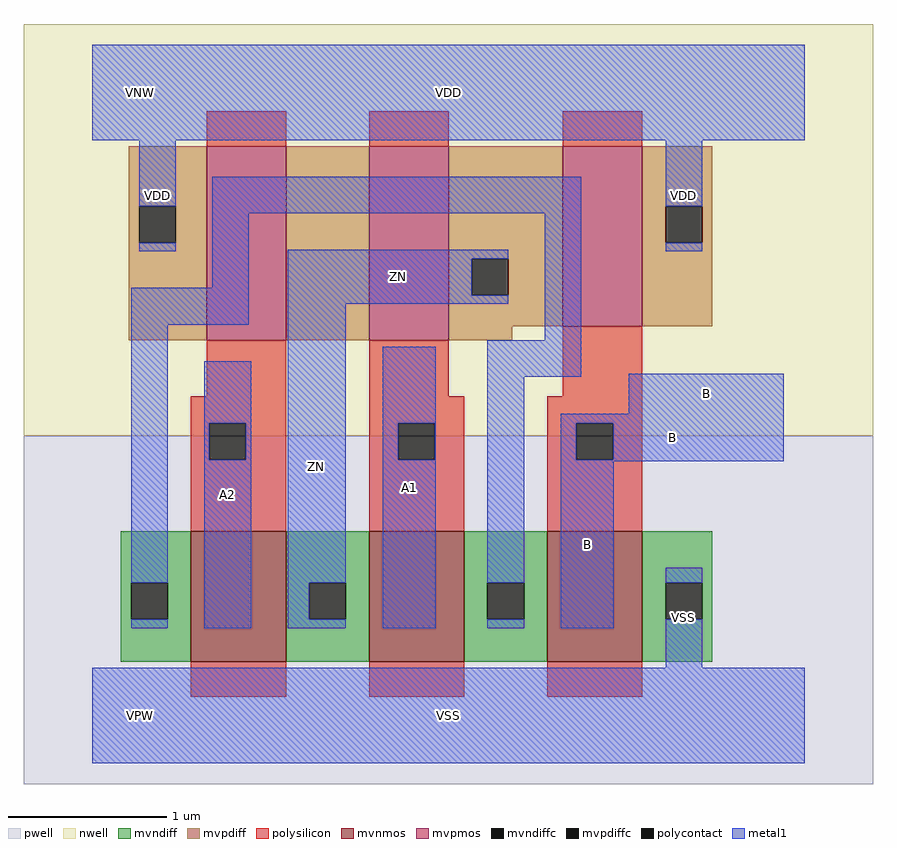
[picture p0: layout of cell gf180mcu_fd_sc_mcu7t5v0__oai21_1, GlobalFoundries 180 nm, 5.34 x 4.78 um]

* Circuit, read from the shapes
.subckt gf180mcu_fd_sc_mcu7t5v0__oai21_1 A1 A2 B ZN VDD VNW VPW VSS
XM1 ZN A2 n1 VPW nfet_06v0 w=0.82u l=0.6u
XM2 n1 A1 ZN VPW nfet_06v0 w=0.82u l=0.6u
XM3 VSS B n1 VPW nfet_06v0 w=0.82u l=0.6u
XM4 n2 A2 VDD VNW pfet_06v0 w=1.22u l=0.5u
XM5 ZN A1 n2 VNW pfet_06v0 w=1.22u l=0.5u
XM6 VDD B ZN VNW pfet_06v0 w=1.13u l=0.5u
.ends

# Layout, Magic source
magic
tech gf180mcuD
magscale 1 10
<< nwell >>
rect -86 352 982 870
<< pwell >>
rect -86 -86 982 352
<< mvnmos >>
rect 124 68 244 232
rect 348 68 468 232
rect 572 68 692 232
<< mvpmos >>
rect 144 472 244 716
rect 348 472 448 716
rect 592 490 692 716
<< mvndiff >>
rect 36 167 124 232
rect 36 121 49 167
rect 95 121 124 167
rect 36 68 124 121
rect 244 167 348 232
rect 244 121 273 167
rect 319 121 348 167
rect 244 68 348 121
rect 468 167 572 232
rect 468 121 497 167
rect 543 121 572 167
rect 468 68 572 121
rect 692 167 780 232
rect 692 121 721 167
rect 767 121 780 167
rect 692 68 780 121
<< mvpdiff >>
rect 46 641 144 716
rect 46 595 59 641
rect 105 595 144 641
rect 46 472 144 595
rect 244 472 348 716
rect 448 575 592 716
rect 448 529 477 575
rect 523 529 592 575
rect 448 490 592 529
rect 692 641 780 716
rect 692 595 721 641
rect 767 595 780 641
rect 692 490 780 595
rect 448 472 528 490
<< mvndiffc >>
rect 49 121 95 167
rect 273 121 319 167
rect 497 121 543 167
rect 721 121 767 167
<< mvpdiffc >>
rect 59 595 105 641
rect 477 529 523 575
rect 721 595 767 641
<< polysilicon >>
rect 144 716 244 760
rect 348 716 448 760
rect 592 716 692 760
rect 144 402 244 472
rect 124 368 244 402
rect 124 322 147 368
rect 193 322 244 368
rect 124 232 244 322
rect 348 402 448 472
rect 592 402 692 490
rect 348 368 468 402
rect 348 322 385 368
rect 431 322 468 368
rect 348 232 468 322
rect 572 368 692 402
rect 572 322 609 368
rect 655 322 692 368
rect 572 232 692 322
rect 124 24 244 68
rect 348 24 468 68
rect 572 24 692 68
<< polycontact >>
rect 147 322 193 368
rect 385 322 431 368
rect 609 322 655 368
<< metal1 >>
rect 0 724 896 844
rect 59 641 105 724
rect 59 584 105 595
rect 151 632 615 678
rect 151 538 197 632
rect 49 492 197 538
rect 246 575 523 586
rect 246 529 477 575
rect 246 518 523 529
rect 49 167 95 492
rect 49 110 95 121
rect 141 368 200 446
rect 141 322 147 368
rect 193 322 200 368
rect 141 110 200 322
rect 246 167 319 518
rect 569 472 615 632
rect 721 641 767 724
rect 721 584 767 595
rect 246 121 273 167
rect 246 110 319 121
rect 365 368 432 464
rect 365 322 385 368
rect 431 322 432 368
rect 365 110 432 322
rect 497 426 615 472
rect 497 167 543 426
rect 675 380 870 430
rect 497 110 543 121
rect 589 368 870 380
rect 589 322 609 368
rect 655 322 870 368
rect 589 320 870 322
rect 589 110 656 320
rect 721 167 767 186
rect 721 60 767 121
rect 0 -60 896 60
<< labels >>
flabel metal1 s 0 724 896 844 0 FreeSans 400 0 0 0 VDD
port 5 nsew power bidirectional abutment
flabel metal1 s 675 380 870 430 0 FreeSans 400 0 0 0 B
port 3 nsew default input
flabel metal1 s 141 110 200 446 0 FreeSans 400 0 0 0 A2
port 2 nsew default input
flabel metal1 s 246 518 523 586 0 FreeSans 400 0 0 0 ZN
port 4 nsew default output
flabel metal1 s 365 110 432 464 0 FreeSans 400 0 0 0 A1
port 1 nsew default input
flabel metal1 s 721 60 767 186 0 FreeSans 400 0 0 0 VSS
port 8 nsew ground bidirectional abutment
flabel nwell s 10 734 110 834 0 FreeSans 400 0 0 0 VNW
port 6 nsew power bidirectional
flabel pwell s 10 -50 110 50 0 FreeSans 400 0 0 0 VPW
port 7 nsew ground bidirectional
rlabel metal1 s 589 320 870 380 1 B
port 3 nsew default input
rlabel metal1 s 589 110 656 320 1 B
port 3 nsew default input
rlabel metal1 s 246 110 319 518 1 ZN
port 4 nsew default output
rlabel metal1 s 721 584 767 724 1 VDD
port 5 nsew power bidirectional abutment
rlabel metal1 s 59 584 105 724 1 VDD
port 5 nsew power bidirectional abutment
rlabel metal1 s 0 -60 896 60 1 VSS
port 8 nsew ground bidirectional abutment
<< properties >>
string FIXED_BBOX 0 0 896 784
string GDS_END 10576
string GDS_FILE $PDKPATH/libs.ref/gf180mcu_fd_sc_mcu7t5v0/gds/gf180mcu_fd_sc_mcu7t5v0.gds
string GDS_START 7584
string LEFclass core
string LEFsite GF018hv5v_mcu_sc7
string LEFsymmetry X Y
<< end >>
